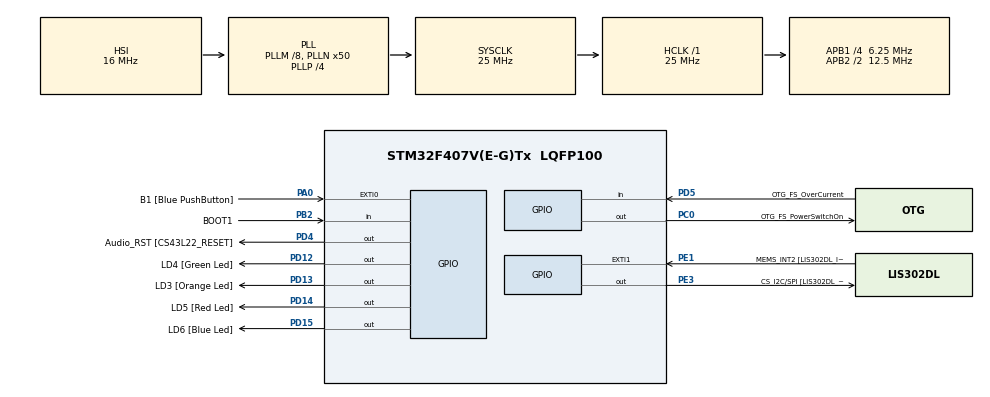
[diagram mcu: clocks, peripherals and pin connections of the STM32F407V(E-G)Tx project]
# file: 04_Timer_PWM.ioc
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Mcu.Family=STM32F4
Mcu.Name=STM32F407V(E-G)Tx
Mcu.Package=LQFP100
NVIC.PriorityGroup=NVIC_PRIORITYGROUP_0
PA0-WKUP.GPIO_Label=B1 [Blue PushButton]
PA0-WKUP.Signal=GPXTI0
PA10.GPIO_Label=OTG_FS_ID
PA10.GPIO_Mode=GPIO_MODE_AF_PP
PA10.GPIO_PuPd=GPIO_NOPULL
PA10.GPIO_Speed=GPIO_SPEED_FREQ_LOW
PA10.Signal=USB_OTG_FS_ID
PA11.GPIO_Label=OTG_FS_DM
PA11.GPIO_Mode=GPIO_MODE_AF_PP
PA11.GPIO_PuPd=GPIO_NOPULL
PA11.GPIO_Speed=GPIO_SPEED_FREQ_LOW
PA11.Signal=USB_OTG_FS_DM
PA12.GPIO_Label=OTG_FS_DP
PA12.GPIO_Mode=GPIO_MODE_AF_PP
PA12.GPIO_PuPd=GPIO_NOPULL
PA12.GPIO_Speed=GPIO_SPEED_FREQ_LOW
PA12.Signal=USB_OTG_FS_DP
PA13.GPIO_Label=SWDIO
PA13.Signal=SYS_JTMS-SWDIO
PA14.GPIO_Label=SWCLK
PA14.Signal=SYS_JTCK-SWCLK
PA4.GPIO_Label=I2S3_WS [CS43L22_LRCK]
PA4.GPIO_Mode=GPIO_MODE_AF_PP
PA4.GPIO_PuPd=GPIO_NOPULL
PA4.GPIO_Speed=GPIO_SPEED_FREQ_LOW
PA4.Signal=I2S3_WS
PA5.GPIO_Label=SPI1_SCK [LIS302DL_SCL/SPC]
PA5.GPIO_Mode=GPIO_MODE_AF_PP
PA5.GPIO_PuPd=GPIO_NOPULL
PA5.GPIO_Speed=GPIO_SPEED_FREQ_LOW
PA5.Signal=SPI1_SCK
PA6.GPIO_Label=SPI1_MISO [LIS302DL_SDO]
PA6.GPIO_Mode=GPIO_MODE_AF_PP
PA6.GPIO_PuPd=GPIO_NOPULL
PA6.GPIO_Speed=GPIO_SPEED_FREQ_LOW
PA6.Signal=SPI1_MISO
PA7.GPIO_Label=SPI1_MOSI [LIS302DL_SDA/SDI/SDO]
PA7.GPIO_Mode=GPIO_MODE_AF_PP
PA7.GPIO_PuPd=GPIO_NOPULL
PA7.GPIO_Speed=GPIO_SPEED_FREQ_LOW
PA7.Signal=SPI1_MOSI
PA9.GPIO_Label=VBUS_FS
PA9.GPIO_Mode=GPIO_MODE_INPUT
PA9.GPIO_PuPd=GPIO_NOPULL
PA9.Signal=USB_OTG_FS_VBUS
PB10.GPIO_Label=CLK_IN [MP45DT02_CLK]
PB10.GPIO_Mode=GPIO_MODE_AF_PP
PB10.GPIO_PuPd=GPIO_NOPULL
PB10.GPIO_Speed=GPIO_SPEED_FREQ_LOW
PB10.Signal=I2S2_CK
PB2.GPIO_Label=BOOT1
PB2.GPIO_Mode=GPIO_MODE_INPUT
PB2.GPIO_PuPd=GPIO_NOPULL
PB2.Signal=GPIO_Input
PB3.GPIO_Label=SWO
PB3.Signal=SYS_JTDO-SWO
PB6.GPIO_Label=Audio_SCL [CS43L22_SCL]
PB6.GPIO_Mode=GPIO_MODE_AF_OD
PB6.GPIO_PuPd=GPIO_NOPULL
PB6.GPIO_Speed=GPIO_SPEED_FREQ_LOW
PB6.Signal=I2C1_SCL
PB9.GPIO_Label=Audio_SDA [CS43L22_SDA]
PB9.GPIO_Mode=GPIO_MODE_AF_OD
PB9.GPIO_PuPd=GPIO_NOPULL
PB9.GPIO_Speed=GPIO_SPEED_FREQ_LOW
PB9.Signal=I2C1_SDA
PC0.GPIO_Label=OTG_FS_PowerSwitchOn
PC0.GPIO_PuPd=GPIO_NOPULL
PC0.GPIO_Speed=GPIO_SPEED_FREQ_LOW
PC0.PinState=GPIO_PIN_SET
PC0.Signal=GPIO_Output
PC10.GPIO_Label=I2S3_SCK [CS43L22_SCLK]
PC10.GPIO_Mode=GPIO_MODE_AF_PP
PC10.GPIO_PuPd=GPIO_NOPULL
PC10.GPIO_Speed=GPIO_SPEED_FREQ_LOW
PC10.Signal=I2S3_CK
PC12.GPIO_Label=I2S3_SD [CS43L22_SDIN]
PC12.GPIO_Mode=GPIO_MODE_AF_PP
PC12.GPIO_PuPd=GPIO_NOPULL
PC12.GPIO_Speed=GPIO_SPEED_FREQ_LOW
PC12.Signal=I2S3_SD
PC14-OSC32_IN.GPIO_Label=PC14-OSC32_IN
PC14-OSC32_IN.Signal=RCC_OSC32_IN
PC15-OSC32_OUT.GPIO_Label=PC15-OSC32_OUT
PC15-OSC32_OUT.Signal=RCC_OSC32_OUT
PC3.GPIO_Label=PDM_OUT [MP45DT02_DOUT]
PC3.GPIO_Mode=GPIO_MODE_AF_PP
PC3.GPIO_PuPd=GPIO_NOPULL
PC3.GPIO_Speed=GPIO_SPEED_FREQ_LOW
PC3.Signal=I2S2_SD
PC7.GPIO_Label=I2S3_MCK [CS43L22_MCLK]
PC7.GPIO_Mode=GPIO_MODE_AF_PP
PC7.GPIO_PuPd=GPIO_NOPULL
PC7.GPIO_Speed=GPIO_SPEED_FREQ_LOW
PC7.Signal=I2S3_MCK
PD12.GPIO_Label=LD4 [Green Led]
PD12.GPIO_PuPd=GPIO_NOPULL
PD12.GPIO_Speed=GPIO_SPEED_FREQ_LOW
PD12.Signal=GPIO_Output
PD13.GPIO_Label=LD3 [Orange Led]
PD13.GPIO_PuPd=GPIO_NOPULL
PD13.GPIO_Speed=GPIO_SPEED_FREQ_LOW
PD13.Signal=GPIO_Output
PD14.GPIO_Label=LD5 [Red Led]
PD14.GPIO_PuPd=GPIO_NOPULL
PD14.GPIO_Speed=GPIO_SPEED_FREQ_LOW
PD14.Signal=GPIO_Output
PD15.GPIO_Label=LD6 [Blue Led]
PD15.GPIO_PuPd=GPIO_NOPULL
PD15.GPIO_Speed=GPIO_SPEED_FREQ_LOW
PD15.Signal=GPIO_Output
PD4.GPIO_Label=Audio_RST [CS43L22_RESET]
PD4.GPIO_PuPd=GPIO_NOPULL
PD4.GPIO_Speed=GPIO_SPEED_FREQ_LOW
PD4.Signal=GPIO_Output
PD5.GPIO_Label=OTG_FS_OverCurrent
PD5.GPIO_Mode=GPIO_MODE_INPUT
PD5.GPIO_PuPd=GPIO_NOPULL
PD5.Signal=GPIO_Input
PE1.GPIO_Label=MEMS_INT2 [LIS302DL_INT2]
PE1.GPIO_ModeDefaultEXTI=GPIO_MODE_EVT_RISING
PE1.GPIO_PuPd=GPIO_NOPULL
PE1.Signal=GPXTI1
PE3.GPIO_Label=CS_I2C/SPI [LIS302DL_CS_I2C/SPI]
PE3.GPIO_PuPd=GPIO_NOPULL
PE3.GPIO_Speed=GPIO_SPEED_FREQ_LOW
PE3.Signal=GPIO_Output
PH0-OSC_IN.GPIO_Label=PH0-OSC_IN
PH0-OSC_IN.Mode=HSE-External-Oscillator
PH0-OSC_IN.Signal=RCC_OSC_IN
PH1-OSC_OUT.GPIO_Label=PH1-OSC_OUT
PH1-OSC_OUT.Mode=HSE-External-Oscillator
PH1-OSC_OUT.Signal=RCC_OSC_OUT
ProjectManager.HeapSize=0x200
ProjectManager.StackSize=0x400
ProjectManager.TargetToolchain=STM32CubeIDE
RCC.48MHZClocksFreq_Value=14285714.285714285
RCC.AHBFreq_Value=25000000
RCC.APB1CLKDivider=RCC_HCLK_DIV4
RCC.APB1Freq_Value=6250000
RCC.APB1TimFreq_Value=12500000
RCC.APB2CLKDivider=RCC_HCLK_DIV2
RCC.APB2Freq_Value=12500000
RCC.APB2TimFreq_Value=25000000
RCC.CortexFreq_Value=25000000
RCC.HCLKFreq_Value=25000000
RCC.HSE_VALUE=8000000
RCC.HSI_VALUE=16000000
RCC.LSE_VALUE=32768
RCC.PLLM=8
RCC.PLLN=50
RCC.PLLP=RCC_PLLP_DIV4
RCC.PLLQ=7
RCC.SYSCLKFreq_VALUE=25000000
RCC.SYSCLKSource=RCC_SYSCLKSOURCE_PLLCLK
RCC.VCOOutputFreq_Value=100000000
board=STM32F407G-DISC1

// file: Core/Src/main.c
/* USER CODE BEGIN Header */
/**
  ******************************************************************************
  * @file           : main.c
  * @brief          : Main program body
  ******************************************************************************
  * @attention
  *
  * Copyright (c) 2026 STMicroelectronics.
  * All rights reserved.
  *
  * This software is licensed under terms that can be found in the LICENSE file
  * in the root directory of this software component.
  * If no LICENSE file comes with this software, it is provided AS-IS.
  *
  ******************************************************************************
  */
/* USER CODE END Header */
#include "main.h"

void SystemClock_Config(void);
static void MX_GPIO_Init(void);

int main(void)
{

  /* MCU Configuration--------------------------------------------------------*/

  /* Reset of all peripherals, Initializes the Flash interface and the Systick. */
  HAL_Init();

  /* Configure the system clock */
  SystemClock_Config();

  /* Initialize all configured peripherals */
  MX_GPIO_Init();
  /* USER CODE BEGIN 2 */
  RCC->AHB1ENR |= (1U << 3);   /* GPIODEN */
  RCC->APB1ENR |= (1U << 2);   /* TIM4EN */

  /* 2. PD12 в режим Alternate Function */
  GPIOD->MODER &= ~(3U << 24);
  GPIOD->MODER |=  (2U << 24);  /* AF mode */

  /* 3. AF2 для TIM4 на PD12 (пин 12, AFR[1] для пинов 8-15) */
  GPIOD->AFR[1] &= ~(0xFU << ((12 - 8) * 4));
  GPIOD->AFR[1] |=  (2U   << ((12 - 8) * 4));  /* AF2 = TIM4 */

  /* 4. Настройка таймера
        f_APB1_timer = 16 МГц (при HSI)
        Хотим период ШИМ ~1 кГц
        PSC делит частоту, ARR задаёт период счёта */
  TIM4->PSC = 15;      /* 16MHz / (15+1) = 1 MHz */
  TIM4->ARR = 999;     /* 1MHz / (999+1) = 1 kHz частота ШИМ */

  /* 5. Настройка канала 1 в режим PWM Mode 1 */
  TIM4->CCMR1 &= ~(7U << 4);
  TIM4->CCMR1 |=  (6U << 4);   /* OC1M = 110 = PWM mode 1 */
  TIM4->CCMR1 |= (1U << 3);    /* OC1PE - preload enable */

  /* 6. Включить выход канала 1 */
  TIM4->CCER |= (1U << 0);     /* CC1E */

  /* 7. Начальная скважность 0 */
  TIM4->CCR1 = 0;

  /* 8. Включить таймер */
  TIM4->CR1 |= (1U << 7);      /* ARPE - auto-reload preload enable */
  TIM4->CR1 |= (1U << 0);      /* CEN - counter enable */
  /* USER CODE END 2 */

  /* Infinite loop */
  while (1)
  {

    /* USER CODE BEGIN 3 */
	  for (uint16_t duty = 0; duty <= 999; duty +=5)
	  {
		  TIM4->CCR1 = duty;
		  for (volatile uint32_t i = 0; i < 3000; i++);
	  }
	  for (uint16_t duty = 999; duty >= 0; duty -= 5)
	  {
		  TIM4->CCR1 = duty;
		  for (volatile uint32_t i = 0; i < 3000; i++);
	  }
  }
  /* USER CODE END 3 */
}

void SystemClock_Config(void)
{
  RCC_OscInitTypeDef RCC_OscInitStruct = {0};
  RCC_ClkInitTypeDef RCC_ClkInitStruct = {0};

  /** Configure the main internal regulator output voltage
  */
  __HAL_RCC_PWR_CLK_ENABLE();
  __HAL_PWR_VOLTAGESCALING_CONFIG(PWR_REGULATOR_VOLTAGE_SCALE1);

  /** Initializes the RCC Oscillators according to the specified parameters
  * in the RCC_OscInitTypeDef structure.
  */
  RCC_OscInitStruct.OscillatorType = RCC_OSCILLATORTYPE_HSI;
  RCC_OscInitStruct.HSIState = RCC_HSI_ON;
  RCC_OscInitStruct.HSICalibrationValue = RCC_HSICALIBRATION_DEFAULT;
  RCC_OscInitStruct.PLL.PLLState = RCC_PLL_ON;
  RCC_OscInitStruct.PLL.PLLSource = RCC_PLLSOURCE_HSI;
  RCC_OscInitStruct.PLL.PLLM = 8;
  RCC_OscInitStruct.PLL.PLLN = 50;
  RCC_OscInitStruct.PLL.PLLP = RCC_PLLP_DIV4;
  RCC_OscInitStruct.PLL.PLLQ = 7;
  if (HAL_RCC_OscConfig(&RCC_OscInitStruct) != HAL_OK)
  {
    Error_Handler();
  }

  /** Initializes the CPU, AHB and APB buses clocks
  */
  RCC_ClkInitStruct.ClockType = RCC_CLOCKTYPE_HCLK|RCC_CLOCKTYPE_SYSCLK
                              |RCC_CLOCKTYPE_PCLK1|RCC_CLOCKTYPE_PCLK2;
  RCC_ClkInitStruct.SYSCLKSource = RCC_SYSCLKSOURCE_PLLCLK;
  RCC_ClkInitStruct.AHBCLKDivider = RCC_SYSCLK_DIV1;
  RCC_ClkInitStruct.APB1CLKDivider = RCC_HCLK_DIV4;
  RCC_ClkInitStruct.APB2CLKDivider = RCC_HCLK_DIV2;

  if (HAL_RCC_ClockConfig(&RCC_ClkInitStruct, FLASH_LATENCY_0) != HAL_OK)
  {
    Error_Handler();
  }
}

static void MX_GPIO_Init(void)
{
  GPIO_InitTypeDef GPIO_InitStruct = {0};

  /* GPIO Ports Clock Enable */
  __HAL_RCC_GPIOE_CLK_ENABLE();
  __HAL_RCC_GPIOC_CLK_ENABLE();
  __HAL_RCC_GPIOH_CLK_ENABLE();
  __HAL_RCC_GPIOA_CLK_ENABLE();
  __HAL_RCC_GPIOB_CLK_ENABLE();
  __HAL_RCC_GPIOD_CLK_ENABLE();

  /*Configure GPIO pin Output Level */
  HAL_GPIO_WritePin(CS_I2C_SPI_GPIO_Port, CS_I2C_SPI_Pin, GPIO_PIN_RESET);

  /*Configure GPIO pin Output Level */
  HAL_GPIO_WritePin(OTG_FS_PowerSwitchOn_GPIO_Port, OTG_FS_PowerSwitchOn_Pin, GPIO_PIN_SET);

  /*Configure GPIO pin Output Level */
  HAL_GPIO_WritePin(GPIOD, LD4_Pin|LD3_Pin|LD5_Pin|LD6_Pin
                          |Audio_RST_Pin, GPIO_PIN_RESET);

  /*Configure GPIO pin : CS_I2C_SPI_Pin */
  GPIO_InitStruct.Pin = CS_I2C_SPI_Pin;
  GPIO_InitStruct.Mode = GPIO_MODE_OUTPUT_PP;
  GPIO_InitStruct.Pull = GPIO_NOPULL;
  GPIO_InitStruct.Speed = GPIO_SPEED_FREQ_LOW;
  HAL_GPIO_Init(CS_I2C_SPI_GPIO_Port, &GPIO_InitStruct);

  /*Configure GPIO pin : OTG_FS_PowerSwitchOn_Pin */
  GPIO_InitStruct.Pin = OTG_FS_PowerSwitchOn_Pin;
  GPIO_InitStruct.Mode = GPIO_MODE_OUTPUT_PP;
  GPIO_InitStruct.Pull = GPIO_NOPULL;
  GPIO_InitStruct.Speed = GPIO_SPEED_FREQ_LOW;
  HAL_GPIO_Init(OTG_FS_PowerSwitchOn_GPIO_Port, &GPIO_InitStruct);

  /*Configure GPIO pin : PDM_OUT_Pin */
  GPIO_InitStruct.Pin = PDM_OUT_Pin;
  GPIO_InitStruct.Mode = GPIO_MODE_AF_PP;
  GPIO_InitStruct.Pull = GPIO_NOPULL;
  GPIO_InitStruct.Speed = GPIO_SPEED_FREQ_LOW;
  GPIO_InitStruct.Alternate = GPIO_AF5_SPI2;
  HAL_GPIO_Init(PDM_OUT_GPIO_Port, &GPIO_InitStruct);

  /*Configure GPIO pin : B1_Pin */
  GPIO_InitStruct.Pin = B1_Pin;
  GPIO_InitStruct.Mode = GPIO_MODE_IT_RISING;
  GPIO_InitStruct.Pull = GPIO_NOPULL;
  HAL_GPIO_Init(B1_GPIO_Port, &GPIO_InitStruct);

  /*Configure GPIO pin : I2S3_WS_Pin */
  GPIO_InitStruct.Pin = I2S3_WS_Pin;
  GPIO_InitStruct.Mode = GPIO_MODE_AF_PP;
  GPIO_InitStruct.Pull = GPIO_NOPULL;
  GPIO_InitStruct.Speed = GPIO_SPEED_FREQ_LOW;
  GPIO_InitStruct.Alternate = GPIO_AF6_SPI3;
  HAL_GPIO_Init(I2S3_WS_GPIO_Port, &GPIO_InitStruct);

  /*Configure GPIO pins : SPI1_SCK_Pin SPI1_MISO_Pin SPI1_MOSI_Pin */
  GPIO_InitStruct.Pin = SPI1_SCK_Pin|SPI1_MISO_Pin|SPI1_MOSI_Pin;
  GPIO_InitStruct.Mode = GPIO_MODE_AF_PP;
  GPIO_InitStruct.Pull = GPIO_NOPULL;
  GPIO_InitStruct.Speed = GPIO_SPEED_FREQ_LOW;
  GPIO_InitStruct.Alternate = GPIO_AF5_SPI1;
  HAL_GPIO_Init(GPIOA, &GPIO_InitStruct);

  /*Configure GPIO pin : BOOT1_Pin */
  GPIO_InitStruct.Pin = BOOT1_Pin;
  GPIO_InitStruct.Mode = GPIO_MODE_INPUT;
  GPIO_InitStruct.Pull = GPIO_NOPULL;
  HAL_GPIO_Init(BOOT1_GPIO_Port, &GPIO_InitStruct);

  /*Configure GPIO pin : CLK_IN_Pin */
  GPIO_InitStruct.Pin = CLK_IN_Pin;
  GPIO_InitStruct.Mode = GPIO_MODE_AF_PP;
  GPIO_InitStruct.Pull = GPIO_NOPULL;
  GPIO_InitStruct.Speed = GPIO_SPEED_FREQ_LOW;
  GPIO_InitStruct.Alternate = GPIO_AF5_SPI2;
  HAL_GPIO_Init(CLK_IN_GPIO_Port, &GPIO_InitStruct);

  /*Configure GPIO pins : LD4_Pin LD3_Pin LD5_Pin LD6_Pin
                           Audio_RST_Pin */
  GPIO_InitStruct.Pin = LD4_Pin|LD3_Pin|LD5_Pin|LD6_Pin
                          |Audio_RST_Pin;
  GPIO_InitStruct.Mode = GPIO_MODE_OUTPUT_PP;
  GPIO_InitStruct.Pull = GPIO_NOPULL;
  GPIO_InitStruct.Speed = GPIO_SPEED_FREQ_LOW;
  HAL_GPIO_Init(GPIOD, &GPIO_InitStruct);

  /*Configure GPIO pins : I2S3_MCK_Pin I2S3_SCK_Pin I2S3_SD_Pin */
  GPIO_InitStruct.Pin = I2S3_MCK_Pin|I2S3_SCK_Pin|I2S3_SD_Pin;
  GPIO_InitStruct.Mode = GPIO_MODE_AF_PP;
  GPIO_InitStruct.Pull = GPIO_NOPULL;
  GPIO_InitStruct.Speed = GPIO_SPEED_FREQ_LOW;
  GPIO_InitStruct.Alternate = GPIO_AF6_SPI3;
  HAL_GPIO_Init(GPIOC, &GPIO_InitStruct);

  /*Configure GPIO pin : VBUS_FS_Pin */
  GPIO_InitStruct.Pin = VBUS_FS_Pin;
  GPIO_InitStruct.Mode = GPIO_MODE_INPUT;
  GPIO_InitStruct.Pull = GPIO_NOPULL;
  HAL_GPIO_Init(VBUS_FS_GPIO_Port, &GPIO_InitStruct);

  /*Configure GPIO pins : OTG_FS_ID_Pin OTG_FS_DM_Pin OTG_FS_DP_Pin */
  GPIO_InitStruct.Pin = OTG_FS_ID_Pin|OTG_FS_DM_Pin|OTG_FS_DP_Pin;
  GPIO_InitStruct.Mode = GPIO_MODE_AF_PP;
  GPIO_InitStruct.Pull = GPIO_NOPULL;
  GPIO_InitStruct.Speed = GPIO_SPEED_FREQ_LOW;
  GPIO_InitStruct.Alternate = GPIO_AF10_OTG_FS;
  HAL_GPIO_Init(GPIOA, &GPIO_InitStruct);

  /*Configure GPIO pin : OTG_FS_OverCurrent_Pin */
  GPIO_InitStruct.Pin = OTG_FS_OverCurrent_Pin;
  GPIO_InitStruct.Mode = GPIO_MODE_INPUT;
  GPIO_InitStruct.Pull = GPIO_NOPULL;
  HAL_GPIO_Init(OTG_FS_OverCurrent_GPIO_Port, &GPIO_InitStruct);

  /*Configure GPIO pins : Audio_SCL_Pin Audio_SDA_Pin */
  GPIO_InitStruct.Pin = Audio_SCL_Pin|Audio_SDA_Pin;
  GPIO_InitStruct.Mode = GPIO_MODE_AF_OD;
  GPIO_InitStruct.Pull = GPIO_NOPULL;
  GPIO_InitStruct.Speed = GPIO_SPEED_FREQ_LOW;
  GPIO_InitStruct.Alternate = GPIO_AF4_I2C1;
  HAL_GPIO_Init(GPIOB, &GPIO_InitStruct);

  /*Configure GPIO pin : MEMS_INT2_Pin */
  GPIO_InitStruct.Pin = MEMS_INT2_Pin;
  GPIO_InitStruct.Mode = GPIO_MODE_EVT_RISING;
  GPIO_InitStruct.Pull = GPIO_NOPULL;
  HAL_GPIO_Init(MEMS_INT2_GPIO_Port, &GPIO_InitStruct);

}

void Error_Handler(void)
{
  __disable_irq();
  while (1)
  {
  }
}
